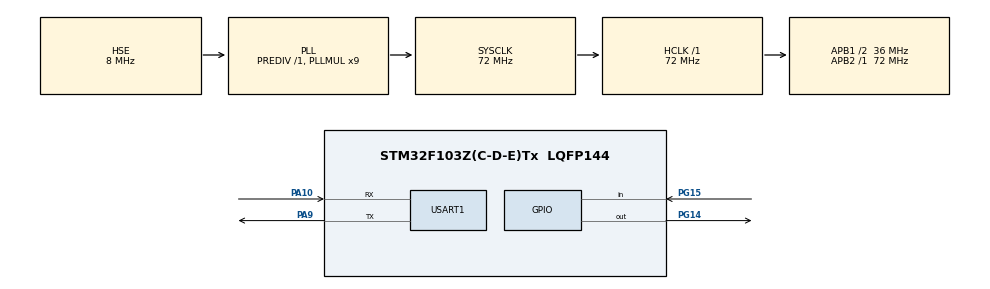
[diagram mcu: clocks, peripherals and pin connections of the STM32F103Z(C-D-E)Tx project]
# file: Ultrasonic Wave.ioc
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Mcu.Family=STM32F1
Mcu.Name=STM32F103Z(C-D-E)Tx
Mcu.Package=LQFP144
NVIC.PriorityGroup=NVIC_PRIORITYGROUP_4
OSC_IN.Mode=HSE-External-Oscillator
OSC_IN.Signal=RCC_OSC_IN
OSC_OUT.Mode=HSE-External-Oscillator
OSC_OUT.Signal=RCC_OSC_OUT
PA10.Mode=Asynchronous
PA10.Signal=USART1_RX
PA9.Mode=Asynchronous
PA9.Signal=USART1_TX
PC14-OSC32_IN.Mode=LSE-External-Oscillator
PC14-OSC32_IN.Signal=RCC_OSC32_IN
PC15-OSC32_OUT.Mode=LSE-External-Oscillator
PC15-OSC32_OUT.Signal=RCC_OSC32_OUT
PG14.Signal=GPIO_Output
PG15.Signal=GPIO_Input
ProjectManager.HeapSize=0x200
ProjectManager.StackSize=0x400
ProjectManager.TargetToolchain=MDK-ARM V5
RCC.AHBFreq_Value=72000000
RCC.APB1CLKDivider=RCC_HCLK_DIV2
RCC.APB1Freq_Value=36000000
RCC.APB1TimFreq_Value=72000000
RCC.APB2Freq_Value=72000000
RCC.APB2TimFreq_Value=72000000
RCC.HCLKFreq_Value=72000000
RCC.PLLMUL=RCC_PLL_MUL9
RCC.PLLSourceVirtual=RCC_PLLSOURCE_HSE
RCC.SYSCLKFreq_VALUE=72000000
RCC.SYSCLKSource=RCC_SYSCLKSOURCE_PLLCLK
RCC.USBFreq_Value=72000000
USART1.VirtualMode=VM_ASYNC
VP_SYS_VS_ND.Mode=No_Debug
VP_TIM1_VS_ClockSourceINT.Mode=Internal
board=custom

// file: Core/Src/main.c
/* USER CODE BEGIN Header */
/**
  ******************************************************************************
  * @file           : main.c
  * @brief          : Main program body
  ******************************************************************************
  * @attention
  *
  * <h2><center>&copy; Copyright (c) 2023 STMicroelectronics.
  * All rights reserved.</center></h2>
  *
  * This software component is licensed by ST under BSD 3-Clause license,
  * the "License"; You may not use this file except in compliance with the
  * License. You may obtain a copy of the License at:
  *                        opensource.org/licenses/BSD-3-Clause
  *
  ******************************************************************************
  */
/* USER CODE END Header */
#include "main.h"
#include "tim.h"
#include "usart.h"
#include "gpio.h"
#include "stdio.h"
#include "string.h"

/* USER CODE BEGIN PD */

//Sound Speed
#define SOUND_SPEED 340.0

//Timeout MS
#define TIMEOUT_MS 100

/* USER CODE END PD */

void SystemClock_Config(void);

/* USER CODE BEGIN 0 */

float MeasureDistance(void)
{
//  GPIO_InitTypeDef GPIO_InitStruct = {0};
  uint32_t startTime = 0, endTime = 0;
  float distance = 0;

  // 发送超声波信号
  HAL_GPIO_WritePin(TRIG_PORT, TRIG_PIN, GPIO_PIN_SET);
  HAL_Delay(1); // 稍微延时1ms
  HAL_GPIO_WritePin(TRIG_PORT, TRIG_PIN, GPIO_PIN_RESET);

  // 等待上升沿
  while (HAL_GPIO_ReadPin(ECHO_PORT, ECHO_PIN) == GPIO_PIN_RESET)
  {
  }

  startTime = HAL_GetTick();

  // 等待下降沿
  while (HAL_GPIO_ReadPin(ECHO_PORT, ECHO_PIN) == GPIO_PIN_SET)
  {
    endTime = HAL_GetTick();
    if (endTime - startTime > TIMEOUT_MS)
    {
      // 超时
      break;
    }
  }

  if (endTime > startTime)
  {
    float timeElapsed = (endTime - startTime) / 1000.0; // 换算成秒
    distance = (SOUND_SPEED * timeElapsed) / 2.0;
  }

  return distance;
}
/* USER CODE END 0 */

int main(void)
{

  /* MCU Configuration--------------------------------------------------------*/

  /* Reset of all peripherals, Initializes the Flash interface and the Systick. */
  HAL_Init();

  /* Configure the system clock */
  SystemClock_Config();

  /* Initialize all configured peripherals */
  MX_GPIO_Init();
  MX_TIM1_Init();
  MX_USART1_UART_Init();

  /* Infinite loop */
  while (1)
  {
    /* USER CODE BEGIN 3 */
		float distance = MeasureDistance();
    printf("Distance: %.2f cm\r\n", distance * 100); // 换算成厘米
    HAL_Delay(1000); // 每秒测一次距离
  }
  /* USER CODE END 3 */
}

void SystemClock_Config(void)
{
  RCC_OscInitTypeDef RCC_OscInitStruct = {0};
  RCC_ClkInitTypeDef RCC_ClkInitStruct = {0};

  /** Initializes the RCC Oscillators according to the specified parameters
  * in the RCC_OscInitTypeDef structure.
  */
  RCC_OscInitStruct.OscillatorType = RCC_OSCILLATORTYPE_HSE;
  RCC_OscInitStruct.HSEState = RCC_HSE_ON;
  RCC_OscInitStruct.HSEPredivValue = RCC_HSE_PREDIV_DIV1;
  RCC_OscInitStruct.HSIState = RCC_HSI_ON;
  RCC_OscInitStruct.PLL.PLLState = RCC_PLL_ON;
  RCC_OscInitStruct.PLL.PLLSource = RCC_PLLSOURCE_HSE;
  RCC_OscInitStruct.PLL.PLLMUL = RCC_PLL_MUL9;
  if (HAL_RCC_OscConfig(&RCC_OscInitStruct) != HAL_OK)
  {
    Error_Handler();
  }
  /** Initializes the CPU, AHB and APB buses clocks
  */
  RCC_ClkInitStruct.ClockType = RCC_CLOCKTYPE_HCLK|RCC_CLOCKTYPE_SYSCLK
                              |RCC_CLOCKTYPE_PCLK1|RCC_CLOCKTYPE_PCLK2;
  RCC_ClkInitStruct.SYSCLKSource = RCC_SYSCLKSOURCE_PLLCLK;
  RCC_ClkInitStruct.AHBCLKDivider = RCC_SYSCLK_DIV1;
  RCC_ClkInitStruct.APB1CLKDivider = RCC_HCLK_DIV2;
  RCC_ClkInitStruct.APB2CLKDivider = RCC_HCLK_DIV1;

  if (HAL_RCC_ClockConfig(&RCC_ClkInitStruct, FLASH_LATENCY_2) != HAL_OK)
  {
    Error_Handler();
  }
}

void Error_Handler(void)
{
  __disable_irq();
  while (1)
  {
  }
}

/************************ (C) COPYRIGHT STMicroelectronics *****END OF FILE****/
